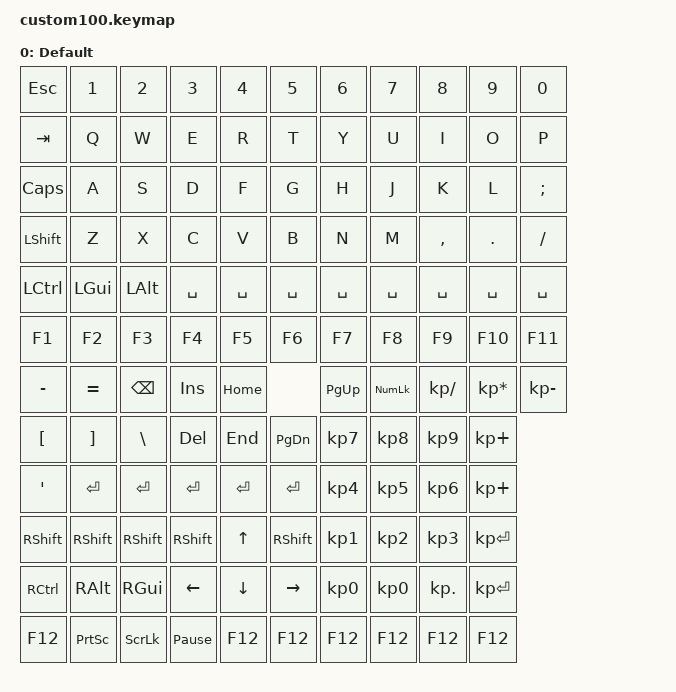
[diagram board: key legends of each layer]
#include <behaviors.dtsi>
#include <dt-bindings/zmk/keys.h>
#include <dt-bindings/zmk/bt.h>

/ {
    keymap {
        compatible = "zmk,keymap";

        default_layer {
            display-name = "Default";
            bindings = <
                &kp ESC    &kp N1     &kp N2     &kp N3     &kp N4     &kp N5     &kp N6     &kp N7     &kp N8     &kp N9     &kp N0
                &kp TAB    &kp Q      &kp W      &kp E      &kp R      &kp T      &kp Y      &kp U      &kp I      &kp O      &kp P
                &kp CAPS   &kp A      &kp S      &kp D      &kp F      &kp G      &kp H      &kp J      &kp K      &kp L      &kp SEMI
                &kp LSHFT  &kp Z      &kp X      &kp C      &kp V      &kp B      &kp N      &kp M      &kp COMMA  &kp DOT    &kp FSLH
                &kp LCTRL  &kp LGUI   &kp LALT   &kp SPACE  &kp SPACE  &kp SPACE  &kp SPACE  &kp SPACE  &kp SPACE  &kp SPACE  &kp SPACE
                &kp F1     &kp F2     &kp F3     &kp F4     &kp F5     &kp F6     &kp F7     &kp F8     &kp F9     &kp F10    &kp F11
                &kp MINUS  &kp EQUAL  &kp BSPC   &kp INS    &kp HOME   &kp PG_UP  &kp KP_NUM &kp KP_SLASH &kp KP_ASTERISK &kp KP_MINUS
                &kp LBKT   &kp RBKT   &kp BSLH   &kp DEL    &kp END    &kp PG_DN  &kp KP_N7  &kp KP_N8  &kp KP_N9  &kp KP_PLUS
                &kp SQT    &kp RET    &kp RET    &kp RET    &kp RET    &kp RET    &kp KP_N4  &kp KP_N5  &kp KP_N6  &kp KP_PLUS
                &kp RSHFT  &kp RSHFT  &kp RSHFT  &kp RSHFT  &kp UP     &kp RSHFT  &kp KP_N1  &kp KP_N2  &kp KP_N3  &kp KP_ENTER
                &kp RCTRL  &kp RALT   &kp RGUI   &kp LEFT   &kp DOWN   &kp RIGHT  &kp KP_N0  &kp KP_N0  &kp KP_DOT &kp KP_ENTER
                &kp F12    &kp PSCRN  &kp SLCK   &kp PAUSE_BREAK &kp F12 &kp F12  &kp F12    &kp F12    &kp F12    &kp F12
            >;
        };
    };
};
